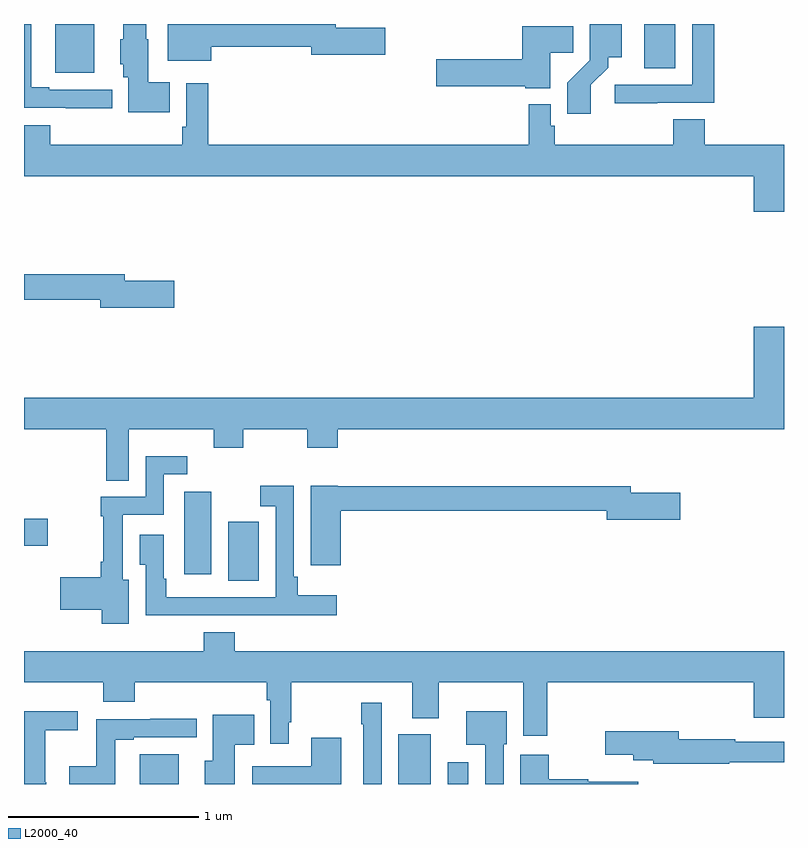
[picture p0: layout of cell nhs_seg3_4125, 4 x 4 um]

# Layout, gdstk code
import gdstk
lib = gdstk.Library(unit=1e-6, precision=1e-09)
def R(c, l, rs):  # rectangles x0, y0, x1, y1
    for r in rs: c.add(gdstk.rectangle(r[:2], r[2:], *l))
def P(c, l, *ps):  # polygons
    for p in ps: c.add(gdstk.Polygon(p, *l))
L2000_40 = (2000, 40)

nhs_seg3_4125 = lib.new_cell('nhs_seg3_4125')
R(nhs_seg3_4125, L2000_40, [(329.609,680.4,329.815,680.557), (330.971,680.4,331.141,680.662), (331.229,680.4,331.339,680.515), (330.074,681.469,330.235,681.78), (329.843,681.503,329.986,681.937), (329,681.653,329.125,681.795), (329.165,684.143,329.371,684.4), (332.264,684.168,332.428,684.4)])
P(nhs_seg3_4125, L2000_40, [(331.984,684.079),(332.074,684.169),(332.074,684.224),(332.146,684.224),(332.146,684.4),(331.977,684.4),(331.977,684.209),(331.858,684.09),(331.858,683.928),(331.984,683.928)],
  [(329.768,684.094),(329.653,684.094),(329.653,684.321),(329.644,684.321),(329.644,684.4),(329.522,684.4),(329.522,684.321),(329.507,684.321),(329.507,684.189),(329.522,684.189),(329.522,684.12),(329.549,684.12),(329.549,683.936),(329.768,683.936)],
  [(329.986,684.28),(330.512,684.28),(330.512,684.238),(330.901,684.238),(330.901,684.38),(330.64,684.38),(330.64,684.4),(329.756,684.4),(329.756,684.206),(329.986,684.206)],
  [(329.464,684.054),(329.134,684.054),(329.134,684.067),(329.037,684.067),(329.037,684.4),(329,684.4),(329,683.958),(329.221,683.958),(329.221,683.957),(329.464,683.957)],
  [(332.333,683.985),(332.633,683.985),(332.633,684.4),(332.517,684.4),(332.517,684.081),(332.109,684.081),(332.109,683.983),(332.333,683.983)],
  [(331.771,684.25),(331.892,684.25),(331.892,684.388),(331.622,684.388),(331.622,684.215),(331.17,684.215),(331.17,684.073),(331.638,684.073),(331.638,684.062),(331.771,684.062)],
  [(333,683.764),(332.582,683.764),(332.582,683.9),(332.417,683.9),(332.417,683.764),(331.793,683.764),(331.793,683.865),(331.773,683.865),(331.773,683.977),(331.657,683.977),(331.657,683.764),(329.969,683.764),(329.969,684.088),(329.853,684.088),(329.853,683.86),(329.833,683.86),(329.833,683.764),(329.138,683.764),(329.138,683.866),(329,683.866),(329,683.6),(332.84,683.6),(332.84,683.412),(333,683.412)],
  [(329.791,683.048),(329.53,683.048),(329.53,683.084),(329,683.084),(329,682.948),(329.402,682.948),(329.402,682.906),(329.791,682.906)],
  [(329.551,682.268),(329.998,682.268),(329.998,682.169),(330.153,682.169),(330.153,682.268),(330.49,682.268),(330.49,682.169),(330.65,682.169),(330.65,682.268),(333,682.268),(333,682.807),(332.84,682.807),(332.84,682.432),(329,682.432),(329,682.268),(329.433,682.268),(329.433,681.997),(329.551,681.997)],
  [(329.551,681.475),(329.521,681.475),(329.521,681.816),(329.736,681.816),(329.736,682.029),(329.86,682.029),(329.86,682.126),(329.64,682.126),(329.64,681.912),(329.403,681.912),(329.403,681.809),(329.418,681.809),(329.418,681.571),(329.403,681.571),(329.403,681.488),(329.19,681.488),(329.19,681.317),(329.408,681.317),(329.408,681.243),(329.551,681.243)],
  [(329.861,681.288),(330.227,681.288),(330.227,681.287),(330.646,681.287),(330.646,681.394),(330.44,681.394),(330.44,681.49),(330.42,681.49),(330.42,681.97),(330.243,681.97),(330.243,681.861),(330.324,681.861),(330.324,681.384),(329.749,681.384),(329.749,681.481),(329.736,681.481),(329.736,681.712),(329.609,681.712),(329.609,681.553),(329.64,681.553),(329.64,681.287),(329.861,681.287)],
  [(330.668,681.838),(332.066,681.838),(332.066,681.791),(332.455,681.791),(332.455,681.933),(332.194,681.933),(332.194,681.967),(330.651,681.967),(330.651,681.97),(330.509,681.97),(330.509,681.552),(330.668,681.552)],
  [(330.393,680.725),(330.406,680.725),(330.406,680.936),(331.043,680.936),(331.043,680.747),(331.183,680.747),(331.183,680.936),(331.628,680.936),(331.628,680.655),(331.754,680.655),(331.754,680.936),(332.84,680.936),(332.84,680.748),(333,680.748),(333,681.1),(330.11,681.1),(330.11,681.199),(329.945,681.199),(329.945,681.1),(329,681.1),(329,680.936),(329.417,680.936),(329.417,680.834),(329.582,680.834),(329.582,680.936),(330.277,680.936),(330.277,680.84),(330.297,680.84),(330.297,680.613),(330.393,680.613)],
  [(330.882,680.827),(330.774,680.827),(330.774,680.714),(330.786,680.714),(330.786,680.4),(330.882,680.4)],
  [(331.524,680.61),(331.54,680.61),(331.54,680.782),(331.328,680.782),(331.328,680.606),(331.428,680.606),(331.428,680.4),(331.524,680.4)],
  [(329.116,680.409),(329.113,680.409),(329.113,680.684),(329.284,680.684),(329.284,680.782),(329,680.782),(329,680.4),(329.116,680.4)],
  [(330.109,680.606),(330.212,680.606),(330.212,680.764),(329.993,680.764),(329.993,680.523),(329.951,680.523),(329.951,680.4),(330.109,680.4)],
  [(329.481,680.634),(329.578,680.634),(329.578,680.646),(329.908,680.646),(329.908,680.744),(329.665,680.744),(329.665,680.742),(329.38,680.742),(329.38,680.494),(329.238,680.494),(329.238,680.4),(329.481,680.4)],
  [(332.711,680.514),(333,680.514),(333,680.622),(332.744,680.622),(332.744,680.635),(332.446,680.635),(332.446,680.677),(332.058,680.677),(332.058,680.555),(332.207,680.555),(332.207,680.525),(332.311,680.525),(332.311,680.506),(332.711,680.506)],
  [(330.67,680.644),(330.512,680.644),(330.512,680.494),(330.2,680.494),(330.2,680.4),(330.67,680.4)],
  [(332.233,680.413),(331.97,680.413),(331.97,680.426),(331.762,680.426),(331.762,680.554),(331.613,680.554),(331.613,680.4),(332.233,680.4)])

lib.write_gds('nhs_seg3_4125.gds')
